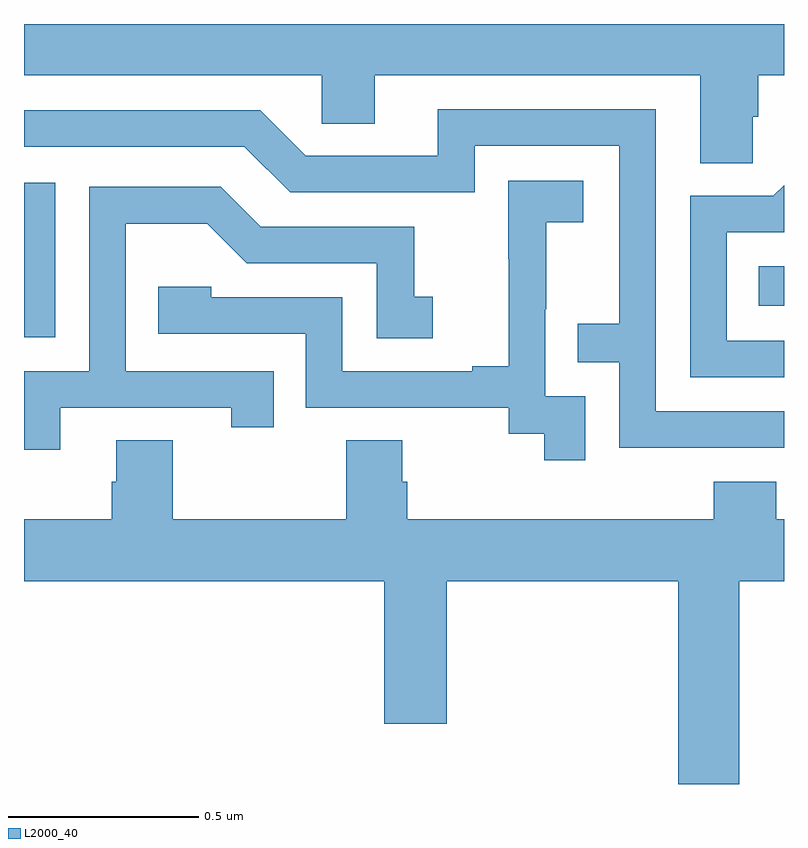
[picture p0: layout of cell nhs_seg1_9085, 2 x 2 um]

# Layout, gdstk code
import gdstk
lib = gdstk.Library(unit=1e-6, precision=1e-09)
def R(c, l, rs):  # rectangles x0, y0, x1, y1
    for r in rs: c.add(gdstk.rectangle(r[:2], r[2:], *l))
def P(c, l, *ps):  # polygons
    for p in ps: c.add(gdstk.Polygon(p, *l))
L2000_40 = (2000, 40)

nhs_seg1_9085 = lib.new_cell('nhs_seg1_9085')
R(nhs_seg1_9085, L2000_40, [(224,552.375,224.082,552.781), (225.934,552.458,226,552.562)])
P(nhs_seg1_9085, L2000_40, [(225.918,552.955),(225.932,552.955),(225.932,553.064),(226,553.064),(226,553.199),(224,553.199),(224,553.064),(224.784,553.064),(224.784,552.937),(224.923,552.937),(224.923,553.064),(225.779,553.064),(225.779,552.832),(225.918,552.832)],
  [(226,552.18),(225.663,552.18),(225.663,552.975),(225.089,552.975),(225.089,552.852),(224.742,552.852),(224.622,552.972),(224,552.972),(224,552.876),(224.58,552.876),(224.7,552.756),(225.186,552.756),(225.186,552.879),(225.567,552.879),(225.567,552.41),(225.457,552.41),(225.457,552.309),(225.567,552.309),(225.567,552.084),(226,552.084)],
  [(225.477,552.219),(225.372,552.219),(225.372,552.449),(225.374,552.449),(225.374,552.677),(225.472,552.677),(225.472,552.787),(225.274,552.787),(225.274,552.581),(225.275,552.581),(225.275,552.298),(225.179,552.298),(225.179,552.285),(224.838,552.285),(224.838,552.48),(224.493,552.48),(224.493,552.507),(224.353,552.507),(224.353,552.384),(224.742,552.384),(224.742,552.189),(225.276,552.189),(225.276,552.121),(225.369,552.121),(225.369,552.051),(225.477,552.051)],
  [(226,552.366),(225.849,552.366),(225.849,552.651),(226,552.651),(226,552.775),(225.972,552.747),(225.753,552.747),(225.753,552.27),(226,552.27)],
  [(224.095,552.189),(224.546,552.189),(224.546,552.138),(224.657,552.138),(224.657,552.285),(224.268,552.285),(224.268,552.674),(224.482,552.674),(224.586,552.57),(224.928,552.57),(224.928,552.372),(225.076,552.372),(225.076,552.481),(225.027,552.481),(225.027,552.666),(224.623,552.666),(224.518,552.771),(224.172,552.771),(224.172,552.285),(224,552.285),(224,552.078),(224.095,552.078)],
  [(225.882,551.732),(226,551.732),(226,551.896),(225.98,551.896),(225.98,551.995),(225.815,551.995),(225.815,551.896),(225.008,551.896),(225.008,551.994),(224.995,551.994),(224.995,552.104),(224.848,552.104),(224.848,551.896),(224.391,551.896),(224.391,552.104),(224.243,552.104),(224.243,551.994),(224.231,551.994),(224.231,551.896),(224,551.896),(224,551.732),(224.948,551.732),(224.948,551.358),(225.112,551.358),(225.112,551.732),(225.722,551.732),(225.722,551.199),(225.882,551.199)])

lib.write_gds('nhs_seg1_9085.gds')
